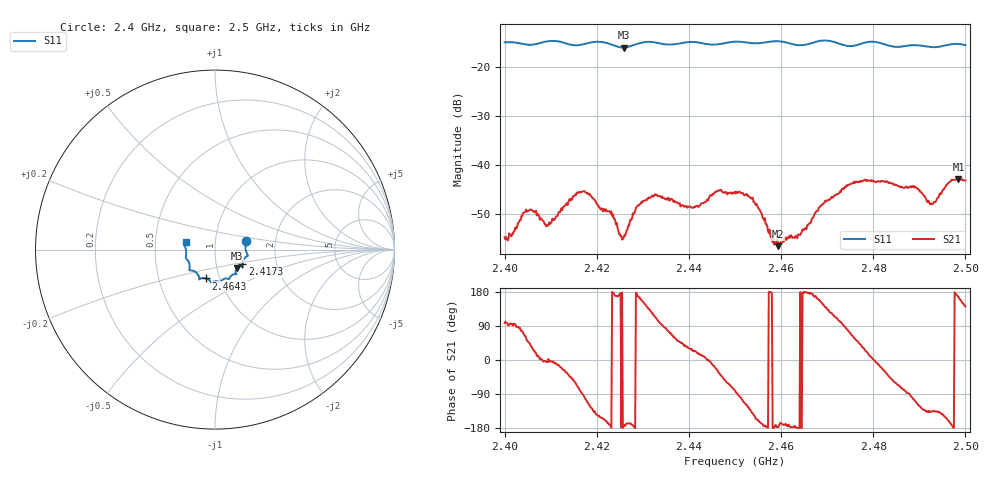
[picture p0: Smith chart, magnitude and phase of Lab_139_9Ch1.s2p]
# Hz S RI R 50
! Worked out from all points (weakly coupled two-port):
!   601 points, 2.4 GHz to 2.5 GHz, reference 50 ohm
!   highest |S21| = -42.88 dB at 2.4985 GHz (marker M1); lowest = -56.7 dB at 2.4593 GHz (marker M2)
!   lowest |S11| = -15.9 dB at 2.4258 GHz (marker M3), VSWR 1.38, Z = 62.2 - j13.2 ohm
!   |S11| at or under -10 dB: start of sweep to end of sweep
!   S12 and S22 are empty: the file has one direction only
!   S11 on the Smith chart (normalised r, x): 2.4 GHz: 1.41, +0.15; 2.4173 GHz: 1.34, -0.23; 2.4643 GHz: 0.86, -0.28; 2.5 GHz: 0.72, +0.06
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2.4e9  0.1733 0.0497  -0.000243 0.00179  0 0  0 0
2.4045e9  0.1703 0.019  0.00149 0.00295  0 0  0 0
2.4095e9  0.1826 -0.0312  0.0024 0.000111  0 0  0 0
2.416667e9  0.1532 -0.0746  0.00036 -0.00524  0 0  0 0
2.417333e9  0.1527 -0.0822  -0.00081 -0.00531  0 0  0 0
2.423e9  0.1449 -0.0936  -0.00315 -0.00041  0 0  0 0
2.425833e9  0.1213 -0.1037  -0.00179 -0.000209  0 0  0 0
2.429e9  0.1159 -0.1311  -0.00378 0.000812  0 0  0 0
2.433333e9  0.1128 -0.1367  -0.00103 0.00466  0 0  0 0
2.440833e9  0.0784 -0.1645  0.00331 0.00146  0 0  0 0
2.4465e9  0.0437 -0.1669  0.00448 -0.00307  0 0  0 0
2.45e9  0.0296 -0.1807  0.000826 -0.00525  0 0  0 0
2.453833e9  0.0112 -0.1764  -0.00354 -0.00295  0 0  0 0
2.459333e9  -0.022 -0.1838  -0.00146 -6.03e-05  0 0  0 0
2.464333e9  -0.0501 -0.1608  -0.00199 -6.04e-05  0 0  0 0
2.466667e9  -0.0763 -0.16  -0.00279 0.000264  0 0  0 0
2.474667e9  -0.103 -0.129  0.00159 0.00606  0 0  0 0
2.483333e9  -0.1412 -0.0894  0.00479 -0.00437  0 0  0 0
2.489333e9  -0.1625 -0.0442  -0.00217 -0.00543  0 0  0 0
2.492667e9  -0.1602 -0.0178  -0.00289 -0.00278  0 0  0 0
2.4985e9  -0.1701 0.0338  -0.00697 0.0017  0 0  0 0
2.5e9  -0.1635 0.0419  -0.0054 0.00432  0 0  0 0
